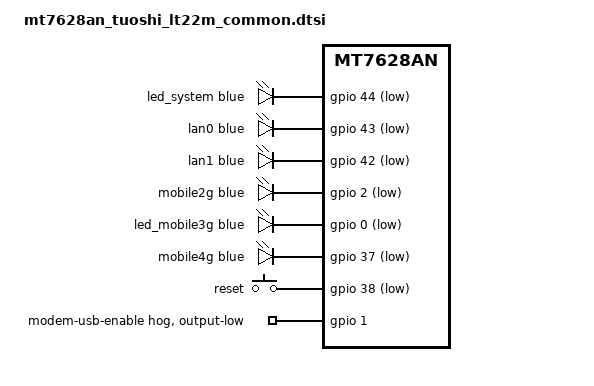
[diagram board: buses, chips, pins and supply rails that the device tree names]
// SPDX-License-Identifier: GPL-2.0-or-later

#include <dt-bindings/gpio/gpio.h>
#include <dt-bindings/input/input.h>
#include <dt-bindings/leds/common.h>

/ {
	aliases {
		led-boot = &led_mobile3g;
		led-failsafe = &led_system;
		led-upgrade = &led_system;
	};

	leds {
		compatible = "gpio-leds";

		led_system: wlan {
			function = LED_FUNCTION_WLAN;
			color = <LED_COLOR_ID_BLUE>;
			gpios = <&gpio 44 GPIO_ACTIVE_LOW>;
		};

		lan0 {
			function = LED_FUNCTION_LAN;
			function-enumerator = <0>;
			color = <LED_COLOR_ID_BLUE>;
			gpios = <&gpio 43 GPIO_ACTIVE_LOW>;
		};

		lan1 {
			function = LED_FUNCTION_LAN;
			function-enumerator = <1>;
			color = <LED_COLOR_ID_BLUE>;
			gpios = <&gpio 42 GPIO_ACTIVE_LOW>;
		};

		mobile2g {
			function = LED_FUNCTION_MOBILE;
			function-enumerator = <2>;
			color = <LED_COLOR_ID_BLUE>;
			gpios = <&gpio 2 GPIO_ACTIVE_LOW>;
		};

		led_mobile3g: mobile3g {
			function = LED_FUNCTION_MOBILE;
			function-enumerator = <3>;
			color = <LED_COLOR_ID_BLUE>;
			gpios = <&gpio 0 GPIO_ACTIVE_LOW>;
		};

		mobile4g {
			function = LED_FUNCTION_MOBILE;
			function-enumerator = <4>;
			color = <LED_COLOR_ID_BLUE>;
			gpios = <&gpio 37 GPIO_ACTIVE_LOW>;
		};
	};

	keys {
		compatible = "gpio-keys";

		reset {
			label = "reset";
			gpios = <&gpio 38 GPIO_ACTIVE_LOW>;
			linux,code = <KEY_RESTART>;
		};
	};
};

/* GPIO1 low exposes the onboard USB modem; the stock loader may leave it high. */
&gpio {
	modem_usb_enable {
		gpio-hog;
		gpios = <1 GPIO_ACTIVE_HIGH>;
		output-low;
		line-name = "modem-usb-enable";
	};
};

&state_default {
	gpio {
		groups = "i2s", "refclk", "wdt", "p1led_an", "p0led_an", "wled_an";
		function = "gpio";
	};
};
